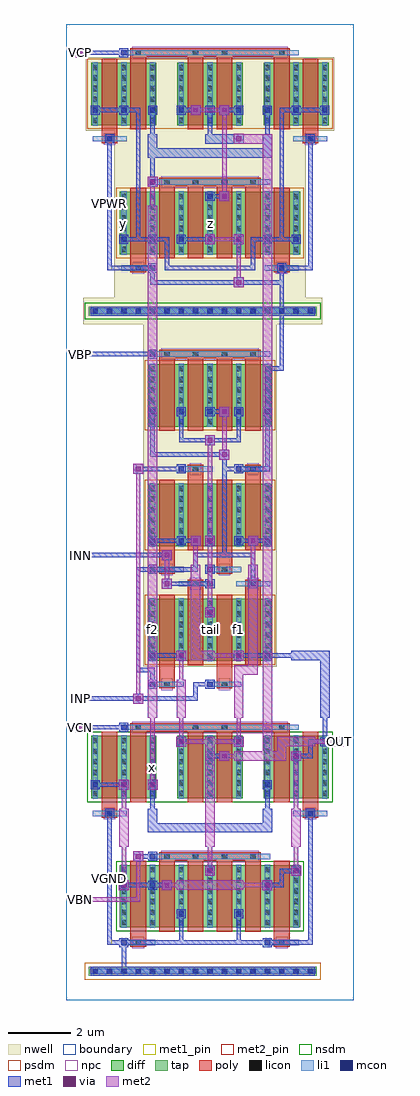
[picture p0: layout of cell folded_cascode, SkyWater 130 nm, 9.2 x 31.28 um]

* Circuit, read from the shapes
.subckt folded_cascode INN INP OUT VBN VBP VCN VCP VGND VPWR f1 f2 tail x y z
XM1 f1 VGND f1 VGND sky130_fd_pr__nfet_01v8 w=2 l=0.5 m=4
XM2 x VCN f1 VGND sky130_fd_pr__nfet_01v8 w=2 l=0.5 m=2
XM3 VGND VBN f1 VGND sky130_fd_pr__nfet_01v8 w=2 l=0.5 m=2
XM4 f2 VBN VGND VGND sky130_fd_pr__nfet_01v8 w=2 l=0.5 m=2
XM5 OUT VCN f2 VGND sky130_fd_pr__nfet_01v8 w=2 l=0.5 m=2
XM6 y VPWR y VPWR sky130_fd_pr__pfet_01v8 w=2 l=0.5 m=4
XM7 x VCP y VPWR sky130_fd_pr__pfet_01v8 w=2 l=0.5 m=2
XM8 f2 VPWR f2 VPWR sky130_fd_pr__pfet_01v8 w=2 l=0.5 m=2
XM9 f1 VPWR f1 VPWR sky130_fd_pr__pfet_01v8 w=2 l=0.5 m=2
XM10 tail VBP VPWR VPWR sky130_fd_pr__pfet_01v8 w=2 l=0.5 m=4
XM11 VPWR x y VPWR sky130_fd_pr__pfet_01v8 w=2 l=0.5 m=2
XM12 tail INN f2 VPWR sky130_fd_pr__pfet_01v8 w=2 l=0.5 m=2
XM13 tail INP f1 VPWR sky130_fd_pr__pfet_01v8 w=2 l=0.5 m=2
XM14 z x VPWR VPWR sky130_fd_pr__pfet_01v8 w=2 l=0.5 m=2
XM15 OUT VCP z VPWR sky130_fd_pr__pfet_01v8 w=2 l=0.5 m=2
.ends

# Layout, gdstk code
import gdstk
lib = gdstk.Library(unit=1e-6, precision=1e-09)
def R(c, l, rs):  # rectangles x0, y0, x1, y1
    for r in rs: c.add(gdstk.rectangle(r[:2], r[2:], *l))
def A(c, l, x, y, w, h, nx, ny, dx, dy):  # array of equal rectangles
    R(c, l, [(x+i*dx, y+j*dy, x+i*dx+w, y+j*dy+h) for i in range(nx) for j in range(ny)])
nwell = (64, 20)
diff = (65, 20)
tap = (65, 44)
poly = (66, 20)
licon = (66, 44)
li1 = (67, 20)
mcon = (67, 44)
met1_pin = (68, 16)
met1 = (68, 20)
via = (68, 44)
met2_pin = (69, 16)
met2 = (69, 20)
nsdm = (93, 44)
psdm = (94, 20)
npc = (95, 20)
boundary = (235, 4)

folded_cascode = lib.new_cell('folded_cascode')
R(folded_cascode, nwell, [(2.455,10.685,6.745,21.66), (0.535,21.66,8.205,22.5), (1.535,22.5,7.665,27.86), (0.615,27.86,8.585,30.22)])
A(folded_cascode, diff, 0.795, 6.465, 2.09, 2, 3, 2, 2.76, 21.575)
R(folded_cascode, diff, [(1.715,2.325,7.485,4.325), (2.635,10.865,6.565,12.865), (2.635,14.545,6.565,16.545), (2.635,18.38,6.565,20.38), (1.715,23.9,7.485,25.9)])
R(folded_cascode, tap, [(0.715,0.775,8.025,1.065), (0.715,21.935,8.025,22.225)])
A(folded_cascode, poly, 2.97, 2.195, 0.5, 2.405, 4, 1, 0.92, 0)
A(folded_cascode, poly, 2.97, 18.25, 0.5, 2.45, 4, 2, 0.92, 5.52)
R(folded_cascode, poly, [(2.05,1.705,2.55,1.975), (6.65,1.705,7.15,1.975), (2.05,1.84,2.55,4.455), (6.65,1.84,7.15,4.455), (2.97,4.465,6.23,4.735), (1.13,5.845,1.63,6.115), (7.57,5.845,8.07,6.115), (1.13,5.98,1.63,8.595), (7.57,5.98,8.07,8.595), (2.05,6.335,2.55,8.74), (3.89,6.335,4.39,8.74), (4.81,6.335,5.31,8.74), (6.65,6.335,7.15,8.74), (2.05,8.605,7.15,8.875), (2.97,9.985,3.47,10.255), (4.81,9.985,5.31,10.255), (2.97,10.12,3.47,12.995), (4.81,10.12,5.31,12.995), (3.89,10.735,4.39,13.34), (5.73,10.735,6.23,13.34), (3.89,13.205,4.39,13.475), (5.73,13.205,6.23,13.475), (2.97,13.665,3.47,13.935), (4.81,13.665,5.31,13.935), (2.97,13.8,3.47,16.675), (4.81,13.8,5.31,16.675), (3.89,14.415,4.39,17.02), (5.73,14.415,6.23,17.02), (3.89,16.885,4.39,17.155), (5.73,16.885,6.23,17.155), (2.97,20.565,6.23,20.835), (2.05,23.325,2.55,23.595), (6.65,23.325,7.15,23.595), (2.05,23.46,2.55,26.03), (6.65,23.46,7.15,26.03), (2.97,26.085,6.23,26.355), (1.13,27.465,1.63,27.735), (7.57,27.465,8.07,27.735), (1.13,27.6,1.63,30.17), (7.57,27.6,8.07,30.17), (2.05,27.91,2.55,30.36), (3.89,27.91,4.39,30.36), (4.81,27.91,5.31,30.36), (6.65,27.91,7.15,30.36), (2.05,30.225,7.15,30.495)])
A(folded_cascode, licon, 0.835, 0.835, 0.17, 0.17, 16, 2, 0.46, 21.16)
A(folded_cascode, licon, 1.755, 2.39, 0.17, 0.17, 7, 6, 0.92, 0.34)
A(folded_cascode, licon, 3.135, 4.515, 0.17, 0.17, 4, 2, 0.92, 16.1)
A(folded_cascode, licon, 0.835, 6.53, 0.17, 0.17, 9, 6, 0.92, 0.34)
A(folded_cascode, licon, 2.675, 10.93, 0.17, 0.17, 5, 6, 0.92, 0.34)
A(folded_cascode, licon, 2.675, 14.61, 0.17, 0.17, 5, 6, 0.92, 0.34)
A(folded_cascode, licon, 2.675, 18.445, 0.17, 0.17, 5, 6, 0.92, 0.34)
A(folded_cascode, licon, 1.755, 23.965, 0.17, 0.17, 7, 6, 0.92, 0.34)
A(folded_cascode, licon, 3.135, 26.135, 0.17, 0.17, 4, 1, 0.92, 0)
A(folded_cascode, licon, 0.835, 28.105, 0.17, 0.17, 9, 6, 0.92, 0.34)
R(folded_cascode, licon, [(2.215,1.755,2.385,1.925), (6.815,1.755,6.985,1.925), (1.295,5.895,1.465,6.065), (7.735,5.895,7.905,6.065), (2.215,8.655,2.385,8.825), (4.055,8.655,4.225,8.825), (4.975,8.655,5.145,8.825), (6.815,8.655,6.985,8.825), (3.135,10.035,3.305,10.205), (4.975,10.035,5.145,10.205), (4.055,13.255,4.225,13.425), (5.895,13.255,6.065,13.425), (3.135,13.715,3.305,13.885), (4.975,13.715,5.145,13.885), (4.055,16.935,4.225,17.105), (5.895,16.935,6.065,17.105), (2.215,23.375,2.385,23.545), (6.815,23.375,6.985,23.545), (1.295,27.515,1.465,27.685), (7.735,27.515,7.905,27.685), (2.215,30.275,2.385,30.445), (4.055,30.275,4.225,30.445), (4.975,30.275,5.145,30.445), (6.815,30.275,6.985,30.445)])
A(folded_cascode, li1, 1.755, 2.31, 0.17, 2.03, 7, 2, 0.92, 21.575)
A(folded_cascode, li1, 0.835, 6.45, 0.17, 2.03, 9, 2, 0.92, 21.575)
A(folded_cascode, li1, 2.675, 10.85, 0.17, 2.03, 5, 2, 0.92, 3.68)
A(folded_cascode, li1, 2.675, 18.365, 0.17, 2.03, 5, 1, 0.92, 0)
R(folded_cascode, li1, [(0.755,0.835,7.985,1.005), (1.755,1.755,2.845,1.925), (6.355,1.755,7.445,1.925), (2.675,4.515,6.525,4.685), (0.835,5.895,1.925,6.065), (7.275,5.895,8.365,6.065), (1.755,8.655,7.445,8.825), (2.675,10.035,3.765,10.205), (4.515,10.035,5.605,10.205), (3.595,13.255,4.685,13.425), (5.435,13.255,6.525,13.425), (2.675,13.715,3.765,13.885), (4.515,13.715,5.605,13.885), (3.595,16.935,4.685,17.105), (5.435,16.935,6.525,17.105), (2.675,20.615,6.525,20.785), (0.755,21.995,7.985,22.165), (1.755,23.375,2.845,23.545), (6.355,23.375,7.445,23.545), (2.675,26.135,6.525,26.305), (0.835,27.515,1.925,27.685), (7.275,27.515,8.365,27.685), (1.755,30.275,7.445,30.445)])
A(folded_cascode, mcon, 0.835, 0.835, 0.17, 0.17, 16, 2, 0.46, 21.16)
A(folded_cascode, mcon, 0.835, 6.815, 0.17, 0.17, 3, 1, 0.92, 0)
A(folded_cascode, mcon, 4.515, 7.735, 0.17, 0.17, 1, 3, 0, 2.3)
A(folded_cascode, mcon, 2.675, 14.635, 0.17, 0.17, 5, 2, 0.92, 4.14)
A(folded_cascode, mcon, 2.675, 20.615, 0.17, 0.17, 1, 3, 0, 2.76)
A(folded_cascode, mcon, 1.755, 24.295, 0.17, 0.17, 3, 1, 0.92, 0)
A(folded_cascode, mcon, 5.435, 24.295, 0.17, 0.17, 3, 1, 0.92, 0)
A(folded_cascode, mcon, 0.835, 28.435, 0.17, 0.17, 9, 1, 0.92, 0)
R(folded_cascode, mcon, [(1.755,1.755,1.925,1.925), (6.355,1.755,6.525,1.925), (3.595,2.675,3.765,2.845), (5.435,2.675,5.605,2.845), (1.755,3.595,1.925,3.765), (2.675,3.595,2.845,3.765), (6.355,3.595,6.525,3.765), (4.515,4.055,4.685,4.225), (7.275,4.055,7.445,4.225), (2.675,4.515,2.845,4.685), (1.295,5.895,1.465,6.065), (7.735,5.895,7.905,6.065), (6.355,6.815,6.525,6.985), (7.275,7.735,7.445,7.905), (3.595,8.195,3.765,8.365), (5.435,8.195,5.605,8.365), (8.195,8.195,8.365,8.365), (1.755,8.655,1.925,8.825), (2.675,10.035,2.845,10.205), (2.675,10.955,2.845,11.125), (3.595,10.955,3.765,11.125), (5.435,10.955,5.605,11.125), (6.355,10.955,6.525,11.125), (4.515,13.255,4.685,13.425), (5.895,13.255,6.065,13.425), (2.675,13.715,2.845,13.885), (4.515,13.715,4.685,13.885), (3.595,16.935,3.765,17.105), (5.435,16.935,5.605,17.105), (6.815,23.375,6.985,23.545), (4.515,25.675,4.685,25.845), (1.295,27.515,1.465,27.685), (7.735,27.515,7.905,27.685), (1.755,30.275,1.925,30.445)])
R(folded_cascode, met1_pin, [(1.31,1.77,1.45,6.05), (1.31,23.39,1.45,27.67)])
A(folded_cascode, met1, 0.775, 6.755, 0.29, 0.29, 3, 1, 0.92, 0)
A(folded_cascode, met1, 4.455, 7.675, 0.29, 0.29, 1, 3, 0, 2.3)
A(folded_cascode, met1, 2.615, 14.575, 0.29, 0.29, 5, 2, 0.92, 4.14)
A(folded_cascode, met1, 2.615, 20.555, 0.29, 0.29, 1, 3, 0, 2.76)
A(folded_cascode, met1, 1.695, 24.235, 0.29, 0.29, 3, 1, 0.92, 0)
A(folded_cascode, met1, 5.375, 24.235, 0.29, 0.29, 3, 1, 0.92, 0)
A(folded_cascode, met1, 2.69, 27.53, 0.14, 1.06, 3, 1, 1.84, 0)
A(folded_cascode, met1, 0.775, 28.375, 0.29, 0.29, 9, 1, 0.92, 0)
R(folded_cascode, met1, [(0.775,0.775,7.965,1.065), (1.77,0.85,1.91,1.91), (1.77,0.85,1.91,0.99), (1.695,1.695,1.985,1.985), (6.295,1.695,6.585,1.985), (1.31,1.77,1.91,1.91), (1.31,1.77,1.45,6.05), (1.77,1.77,3.75,1.91), (3.61,1.77,6.51,1.91), (3.61,1.77,3.75,2.83), (5.45,1.77,5.59,2.83), (6.37,1.77,7.89,1.91), (7.75,1.77,7.89,6.05), (3.535,2.615,3.825,2.905), (5.375,2.615,5.665,2.905), (1.68,3.52,2,3.84), (3.06,3.52,3.38,3.84), (6.28,3.52,6.6,3.84), (1.695,3.535,1.985,3.825), (2.615,3.535,2.905,3.825), (6.295,3.535,6.585,3.825), (1.77,3.61,2.83,3.75), (2.69,3.61,3.29,3.75), (6.37,3.61,6.97,3.75), (6.83,3.61,6.97,4.21), (4.44,3.98,4.76,4.3), (7.2,3.98,7.52,4.3), (4.455,3.995,4.745,4.285), (7.215,3.995,7.505,4.285), (6.83,4.07,7.43,4.21), (2.14,4.44,2.46,4.76), (2.615,4.455,2.905,4.745), (2.23,4.53,2.83,4.67), (2.61,5.37,6.59,5.67), (2.61,5.37,2.91,6.13), (6.29,5.37,6.59,6.13), (1.235,5.835,1.525,6.125), (7.675,5.835,7.965,6.125), (2.69,5.91,2.83,6.97), (6.37,5.91,6.51,6.97), (1.68,6.74,2,7.06), (2.6,6.74,2.92,7.06), (6.295,6.755,6.585,7.045), (0.85,6.83,1.91,6.97), (4.9,7.66,5.22,7.98), (7.2,7.66,7.52,7.98), (7.215,7.675,7.505,7.965), (4.53,7.75,5.13,7.89), (7.29,7.75,7.89,7.89), (7.75,7.75,7.89,8.35), (3.52,8.12,3.84,8.44), (5.36,8.12,5.68,8.44), (3.535,8.135,3.825,8.425), (5.375,8.135,5.665,8.425), (8.135,8.135,8.425,8.425), (7.75,8.21,8.35,8.35), (8.21,8.21,8.35,9.27), (0.3,8.58,0.62,8.9), (1.695,8.595,1.985,8.885), (0.39,8.67,1.91,8.81), (8.13,9.05,8.43,11.19), (0.3,9.5,0.62,9.82), (2.14,9.5,2.46,9.82), (0.39,9.59,4.21,9.73), (4.07,9.59,4.21,10.19), (2.615,9.975,2.905,10.265), (2.69,10.05,2.83,10.65), (4.07,10.05,4.67,10.19), (2.23,10.51,2.83,10.65), (2.23,10.51,2.37,13.87), (3.52,10.88,3.84,11.2), (5.36,10.88,5.68,11.2), (7.21,10.89,8.43,11.19), (2.615,10.895,2.905,11.185), (3.535,10.895,3.825,11.185), (5.375,10.895,5.665,11.185), (6.295,10.895,6.585,11.185), (2.69,10.97,3.75,11.11), (5.45,10.97,6.51,11.11), (6.37,10.97,7.43,11.11), (4.44,12.26,4.76,12.58), (3.06,13.18,3.38,13.5), (4.455,13.195,4.745,13.485), (5.835,13.195,6.125,13.485), (3.15,13.27,4.67,13.41), (4.53,13.27,4.67,13.87), (5.91,13.27,6.05,14.33), (2.615,13.655,2.905,13.945), (4.455,13.655,4.745,13.945), (2.23,13.73,2.83,13.87), (2.69,13.73,4.21,13.87), (4.07,13.73,4.21,14.33), (0.3,14.1,0.62,14.42), (3.06,14.1,3.38,14.42), (0.39,14.19,3.29,14.33), (4.07,14.19,6.05,14.33), (4.99,14.19,5.13,17.09), (3.98,14.56,4.3,14.88), (4.44,14.56,4.76,14.88), (5.82,14.56,6.14,14.88), (2.69,14.65,3.75,14.79), (3.61,14.65,4.21,14.79), (5.45,14.65,6.05,14.79), (5.91,14.65,6.51,14.79), (2.14,16.86,2.46,17.18), (3.535,16.875,3.825,17.165), (5.375,16.875,5.665,17.165), (2.23,16.95,3.75,17.09), (4.99,16.95,5.59,17.09), (4.99,16.95,5.13,17.55), (5.45,16.95,6.51,17.09), (6.37,16.95,6.51,18.93), (4.9,17.32,5.22,17.64), (2.69,17.41,5.13,17.55), (2.69,17.41,2.83,18.93), (4.44,17.78,4.76,18.1), (3.61,17.87,4.67,18.01), (3.61,17.87,3.75,18.93), (4.53,17.87,5.59,18.01), (5.45,17.87,5.59,18.93), (4.9,18.7,5.22,19.02), (4.53,18.79,5.13,18.93), (6.37,18.79,6.51,20.31), (6.37,20.17,6.97,20.31), (6.83,20.17,6.97,22.15), (0.3,20.54,0.62,20.86), (0.39,20.63,2.83,20.77), (0.775,21.935,7.965,22.225), (6.83,22.01,6.97,22.15), (6.83,22.01,6.97,23.53), (5.36,22.84,5.68,23.16), (2.69,22.93,6.97,23.07), (2.69,22.93,2.83,23.53), (6.755,23.315,7.045,23.605), (1.31,23.39,2.83,23.53), (1.31,23.39,1.45,27.67), (3.15,23.39,6.05,23.53), (3.15,23.39,3.29,24.45), (5.91,23.39,6.05,24.45), (6.83,23.39,7.89,23.53), (7.75,23.39,7.89,27.67), (4.44,24.22,4.76,24.54), (5.36,24.22,5.68,24.54), (1.77,24.31,2.83,24.45), (2.23,24.31,2.37,28.59), (2.69,24.31,3.29,24.45), (3.61,24.31,4.67,24.45), (5.91,24.31,6.51,24.45), (6.37,24.31,7.43,24.45), (6.83,24.31,6.97,28.59), (4.9,25.6,5.22,25.92), (4.455,25.615,4.745,25.905), (4.53,25.69,5.13,25.83), (2.6,26.06,2.92,26.38), (2.69,26.15,2.83,27.21), (2.61,26.99,6.59,27.29), (2.61,26.99,2.91,27.75), (6.29,26.99,6.59,27.75), (5.36,27.44,5.68,27.76), (4.45,27.45,5.67,27.75), (1.235,27.455,1.525,27.745), (7.675,27.455,7.965,27.745), (3.98,28.36,4.3,28.68), (4.9,28.36,5.22,28.68), (0.85,28.45,1.91,28.59), (1.77,28.45,2.37,28.59), (3.61,28.45,4.21,28.59), (4.99,28.45,5.59,28.59), (6.83,28.45,7.43,28.59), (7.29,28.45,8.35,28.59), (0.3,30.2,0.62,30.52), (1.695,30.215,1.985,30.505), (0.39,30.29,1.91,30.43)])
R(folded_cascode, via, [(1.765,3.605,1.915,3.755), (3.145,3.605,3.295,3.755), (6.365,3.605,6.515,3.755), (4.525,4.065,4.675,4.215), (7.285,4.065,7.435,4.215), (2.225,4.525,2.375,4.675), (1.765,6.825,1.915,6.975), (2.685,6.825,2.835,6.975), (4.985,7.745,5.135,7.895), (7.285,7.745,7.435,7.895), (3.605,8.205,3.755,8.355), (5.445,8.205,5.595,8.355), (0.385,8.665,0.535,8.815), (0.385,9.585,0.535,9.735), (2.225,9.585,2.375,9.735), (3.605,10.965,3.755,11.115), (5.445,10.965,5.595,11.115), (4.525,12.345,4.675,12.495), (3.145,13.265,3.295,13.415), (0.385,14.185,0.535,14.335), (3.145,14.185,3.295,14.335), (4.065,14.645,4.215,14.795), (4.525,14.645,4.675,14.795), (5.905,14.645,6.055,14.795), (2.225,16.945,2.375,17.095), (4.985,17.405,5.135,17.555), (4.525,17.865,4.675,18.015), (4.985,18.785,5.135,18.935), (0.385,20.625,0.535,20.775), (5.445,22.925,5.595,23.075), (4.525,24.305,4.675,24.455), (5.445,24.305,5.595,24.455), (4.985,25.685,5.135,25.835), (2.685,26.145,2.835,26.295), (5.445,27.525,5.595,27.675), (4.065,28.445,4.215,28.595), (4.985,28.445,5.135,28.595), (0.385,30.285,0.535,30.435)])
R(folded_cascode, met2_pin, [(0.31,3.07,0.61,3.37), (8.59,8.13,8.89,8.43), (0.31,8.59,0.61,8.89), (0.31,9.51,0.61,9.81), (0.31,14.11,0.61,14.41), (0.31,20.55,0.61,20.85), (0.31,30.21,0.61,30.51)])
R(folded_cascode, met2, [(0.31,3.07,0.61,3.37), (0.39,3.15,2.37,3.29), (0.39,3.15,0.53,3.29), (2.23,3.15,2.37,4.67), (1.68,3.52,2,3.84), (3.06,3.52,3.38,3.84), (6.28,3.52,6.6,3.84), (3.53,3.53,5.67,3.83), (1.77,3.61,1.91,5.13), (3.15,3.61,3.75,3.75), (5.45,3.61,6.51,3.75), (4.44,3.98,4.76,4.3), (7.2,3.98,7.52,4.3), (4.53,4.07,4.67,5.13), (7.29,4.07,7.43,5.13), (2.14,4.44,2.46,4.76), (1.69,4.91,1.99,6.13), (4.45,4.91,4.75,8.43), (7.21,4.91,7.51,6.13), (1.77,5.91,1.91,6.97), (7.29,5.91,7.43,7.89), (1.68,6.74,2,7.06), (2.6,6.74,2.92,7.06), (2.69,6.83,2.83,9.27), (4.9,7.66,5.22,7.98), (7.2,7.66,7.52,7.98), (5.37,7.67,7.05,7.97), (6.29,7.67,6.59,27.75), (6.75,7.67,7.05,8.43), (4.99,7.75,5.59,7.89), (3.52,8.12,3.84,8.44), (5.36,8.12,5.68,8.44), (6.75,8.13,7.97,8.43), (8.59,8.13,8.89,8.43), (3.61,8.21,3.75,9.27), (3.61,8.21,5.59,8.35), (5.45,8.21,5.59,9.27), (7.75,8.21,8.81,8.35), (8.67,8.21,8.81,8.35), (0.3,8.58,0.62,8.9), (0.31,8.59,0.61,8.89), (0.39,8.67,0.53,8.81), (2.61,9.05,2.91,25.45), (3.53,9.05,3.83,10.27), (5.37,9.05,5.67,10.73), (0.3,9.5,0.62,9.82), (2.14,9.5,2.46,9.82), (0.31,9.51,0.61,9.81), (0.39,9.59,0.53,9.73), (2.23,9.59,2.37,17.09), (3.61,10.05,3.75,11.11), (5.37,10.43,6.13,10.73), (5.83,10.43,6.13,13.95), (3.52,10.88,3.84,11.2), (5.36,10.88,5.68,11.2), (3.99,10.89,4.75,11.19), (3.99,10.89,4.29,13.95), (4.53,10.97,5.59,11.11), (4.44,12.26,4.76,12.58), (4.53,12.35,4.67,14.79), (3.06,13.18,3.38,13.5), (3.15,13.27,3.29,14.33), (4.07,13.73,4.21,14.79), (5.91,13.73,6.05,14.79), (0.3,14.1,0.62,14.42), (3.06,14.1,3.38,14.42), (0.31,14.11,0.61,14.41), (0.39,14.19,0.53,14.33), (3.98,14.56,4.3,14.88), (4.44,14.56,4.76,14.88), (5.82,14.56,6.14,14.88), (4.53,14.65,4.67,18.01), (2.14,16.86,2.46,17.18), (4.9,17.32,5.22,17.64), (4.99,17.41,5.13,18.93), (4.44,17.78,4.76,18.1), (4.9,18.7,5.22,19.02), (0.3,20.54,0.62,20.86), (0.31,20.55,0.61,20.85), (0.39,20.63,0.53,20.77), (5.36,22.84,5.68,23.16), (5.45,22.93,5.59,24.45), (4.44,24.22,4.76,24.54), (5.36,24.22,5.68,24.54), (4.53,24.31,5.59,24.45), (2.69,25.23,2.83,26.29), (4.9,25.6,5.22,25.92), (4.99,25.69,5.13,28.59), (2.6,26.06,2.92,26.38), (5.36,27.44,5.68,27.76), (5.37,27.45,6.59,27.75), (3.98,28.36,4.3,28.68), (4.9,28.36,5.22,28.68), (4.07,28.45,5.13,28.59), (0.3,30.2,0.62,30.52), (0.31,30.21,0.61,30.51), (0.39,30.29,0.53,30.43)])
R(folded_cascode, nsdm, [(1.59,2.2,7.61,4.45), (0.67,6.34,8.53,8.59), (0.59,21.81,8.15,22.35)])
R(folded_cascode, psdm, [(0.59,0.65,8.15,1.19), (2.51,10.74,6.69,12.99), (2.51,14.42,6.69,16.67), (2.51,18.255,6.69,20.505), (1.59,23.775,7.61,26.025), (0.67,27.915,8.53,30.165)])
R(folded_cascode, npc, [(2.115,1.655,2.485,2.025), (6.715,1.655,7.085,2.025), (3.035,4.415,6.165,4.785), (1.195,5.795,1.565,6.165), (7.635,5.795,8.005,6.165), (2.115,8.555,7.085,8.925), (3.035,9.935,3.405,10.305), (4.875,9.935,5.245,10.305), (3.955,13.155,4.325,13.525), (5.795,13.155,6.165,13.525), (3.035,13.615,3.405,13.985), (4.875,13.615,5.245,13.985), (3.955,16.835,4.325,17.205), (5.795,16.835,6.165,17.205), (3.035,20.515,6.165,20.885), (2.115,23.275,2.485,23.645), (6.715,23.275,7.085,23.645), (3.035,26.035,6.165,26.405), (1.195,27.415,1.565,27.785), (7.635,27.415,8.005,27.785), (2.115,30.175,7.085,30.545)])
R(folded_cascode, boundary, [(0,0,9.2,31.28)])
folded_cascode.add(gdstk.Label('f2', (2.76,11.865), layer=67, texttype=5))
folded_cascode.add(gdstk.Label('tail', (4.6,11.865), layer=67, texttype=5))
folded_cascode.add(gdstk.Label('f1', (5.52,11.865), layer=67, texttype=5))
folded_cascode.add(gdstk.Label('x', (2.76,7.465), layer=67, texttype=5))
folded_cascode.add(gdstk.Label('y', (1.84,24.9), layer=67, texttype=5))
folded_cascode.add(gdstk.Label('z', (4.6,24.9), layer=67, texttype=5))
folded_cascode.add(gdstk.Label('VPWR', (1.38,25.53), layer=68, texttype=5))
folded_cascode.add(gdstk.Label('VGND', (1.38,3.91), layer=68, texttype=5))
folded_cascode.add(gdstk.Label('INP', (0.46,9.66), layer=69, texttype=5))
folded_cascode.add(gdstk.Label('INN', (0.46,14.26), layer=69, texttype=5))
folded_cascode.add(gdstk.Label('VBP', (0.46,20.7), layer=69, texttype=5))
folded_cascode.add(gdstk.Label('VBN', (0.46,3.22), layer=69, texttype=5))
folded_cascode.add(gdstk.Label('VCN', (0.46,8.74), layer=69, texttype=5))
folded_cascode.add(gdstk.Label('VCP', (0.46,30.36), layer=69, texttype=5))
folded_cascode.add(gdstk.Label('OUT', (8.74,8.28), layer=69, texttype=5))
folded_cascode.add(gdstk.Label('VPWR', (1.38,25.53), layer=68, texttype=16))
folded_cascode.add(gdstk.Label('VGND', (1.38,3.91), layer=68, texttype=16))
folded_cascode.add(gdstk.Label('INP', (0.46,9.66), layer=69, texttype=16))
folded_cascode.add(gdstk.Label('INN', (0.46,14.26), layer=69, texttype=16))
folded_cascode.add(gdstk.Label('VBP', (0.46,20.7), layer=69, texttype=16))
folded_cascode.add(gdstk.Label('VBN', (0.46,3.22), layer=69, texttype=16))
folded_cascode.add(gdstk.Label('VCN', (0.46,8.74), layer=69, texttype=16))
folded_cascode.add(gdstk.Label('VCP', (0.46,30.36), layer=69, texttype=16))
folded_cascode.add(gdstk.Label('OUT', (8.74,8.28), layer=69, texttype=16))

lib.write_gds('folded_cascode.gds')
